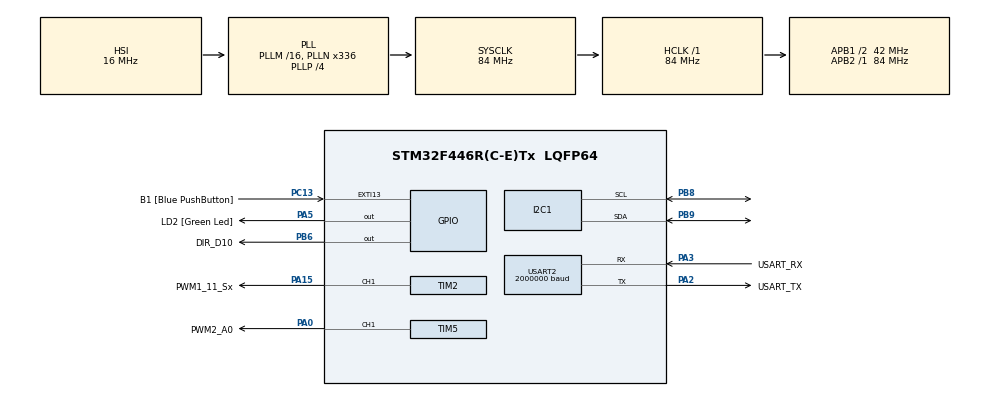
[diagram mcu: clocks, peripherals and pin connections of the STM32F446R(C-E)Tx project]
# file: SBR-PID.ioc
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Mcu.Family=STM32F4
PH0-OSC_IN.Signal=RCC_OSC_IN
RCC.CortexFreq_Value=84000000
PA14.GPIO_Label=TCK
PB6.GPIO_Label=DIR_D10
PC13.GPIO_Label=B1 [Blue PushButton]
RCC.SYSCLKSource=RCC_SYSCLKSOURCE_PLLCLK
ProjectManager.StackSize=0x400
PA15.GPIO_Label=PWM1_11_Sx
RCC.HCLKFreq_Value=84000000
RCC.APB2TimFreq_Value=84000000
PB6.Signal=GPIO_Output
VP_TIM10_VS_ClockSourceINT.Mode=Enable_Timer
RCC.AHBFreq_Value=84000000
PH0-OSC_IN.Mode=HSE-External-Oscillator
RCC.HSE_VALUE=8000000
PC14-OSC32_IN.Mode=LSE-External-Oscillator
PA14.Mode=Serial_Wire
TIM2.Channel-PWM\ Generation1\ CH1=TIM_CHANNEL_1
RCC.FLatency-AdvancedSettings=FLASH_LATENCY_2
PH1-OSC_OUT.Mode=HSE-External-Oscillator
Mcu.Package=LQFP64
PB9.Signal=I2C1_SDA
USART2.VirtualMode=VM_ASYNC
PA2.GPIO_Label=USART_TX
PA15.Signal=S_TIM2_CH1_ETR
PB8.GPIO_PuPdOD=GPIO_PULLUP
RCC.APB1TimFreq_Value=84000000
SH.S_TIM5_CH1.0=TIM5_CH1,PWM Generation1 CH1
PA3.Signal=USART2_RX
PB3.GPIO_Label=SWO
TIM10.Prescaler=4 - 1
PC15-OSC32_OUT.Mode=LSE-External-Oscillator
PC13.Signal=GPXTI13
TIM11.Prescaler=8400 - 1
RCC.APB1CLKDivider=RCC_HCLK_DIV2
PC14-OSC32_IN.Signal=RCC_OSC32_IN
USART2.BaudRate=2000000
PA0-WKUP.GPIO_Label=PWM2_A0
PA0-WKUP.Signal=S_TIM5_CH1
VP_TIM11_VS_ClockSourceINT.Mode=Enable_Timer
PA13.Signal=SYS_JTMS-SWDIO
PA3.Mode=Asynchronous
ProjectManager.TargetToolchain=STM32CubeIDE
PB9.Mode=I2C
RCC.USBFreq_Value=168000000
PC15-OSC32_OUT.Signal=RCC_OSC32_OUT
PA5.Signal=GPIO_Output
board=NUCLEO-F446RE
RCC.VCOOutputFreq_Value=336000000
TIM10.Period=42000 - 1
RCC.APB2Freq_Value=84000000
PH1-OSC_OUT.Signal=RCC_OSC_OUT
TIM2.Period=0
PA13.Mode=Serial_Wire
Mcu.Name=STM32F446R(C-E)Tx
PA13.GPIO_Label=TMS
PA2.Signal=USART2_TX
RCC.48MHZClocksFreq_Value=84000000
PB3.Signal=SYS_JTDO-SWO
RCC.SYSCLKFreq_VALUE=84000000
PA5.GPIO_Label=LD2 [Green Led]
PC13.GPIO_ModeDefaultEXTI=GPIO_MODE_IT_FALLING
SH.S_TIM2_CH1_ETR.0=TIM2_CH1,PWM Generation1 CH1
TIM5.Channel-PWM\ Generation1\ CH1=TIM_CHANNEL_1
PA14.Signal=SYS_JTCK-SWCLK
ProjectManager.HeapSize=0x200
PB9.GPIO_PuPdOD=GPIO_PULLUP
NVIC.TIM1_UP_TIM10_IRQn=true\:0\:0\:false\:false\:true\:true\:true
RCC.HSI_VALUE=16000000
RCC.PLLP=RCC_PLLP_DIV4
NVIC.PriorityGroup=NVIC_PRIORITYGROUP_0
PB8.Mode=I2C
RCC.PLLN=336
PA2.Mode=Asynchronous
PB8.Signal=I2C1_SCL
TIM5.Period=0
RCC.APB1Freq_Value=42000000
USART2.Mode=MODE_TX
PA3.GPIO_Label=USART_RX

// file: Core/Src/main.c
/* USER CODE BEGIN Header */
/**
  ******************************************************************************
  * @file           : main.c
  * @brief          : Main program body
  ******************************************************************************
  * @attention
  *
  * <h2><center>&copy; Copyright (c) 2021 STMicroelectronics.
  * All rights reserved.</center></h2>
  *
  * This software component is licensed by ST under BSD 3-Clause license,
  * the "License"; You may not use this file except in compliance with the
  * License. You may obtain a copy of the License at:
  *                        opensource.org/licenses/BSD-3-Clause
  *
  * 		Authors: Quatela Alessandro, Roberto Giuseppe
  *
  ******************************************************************************
  */
/* USER CODE END Header */
#include "main.h"
#include "i2c.h"
#include "tim.h"
#include "usart.h"
#include "gpio.h"

/* USER CODE BEGIN Includes */
#include <stdio.h>		// Used to obtain serial communication
#include "MPU6050.h"
#include "Stepper.h"
/* USER CODE END Includes */

/* USER CODE BEGIN PD */
#define CONTROL_TYPE 0				// 0->PID 1->LQR
/* USER CODE END PD */

/* USER CODE BEGIN PV */
char uart_buf[50];
int uart_buf_len;
//uint16_t start_t = 0, end_t;
/* USER CODE END PV */

void SystemClock_Config(void);

int main(void)
{

  /* MCU Configuration--------------------------------------------------------*/

  /* Reset of all peripherals, Initializes the Flash interface and the Systick. */
  HAL_Init();

  /* Configure the system clock */
  SystemClock_Config();

  /* Initialize all configured peripherals */
  MX_GPIO_Init();
  MX_USART2_UART_Init();
  MX_TIM2_Init();
  MX_TIM5_Init();
  MX_TIM10_Init();
  MX_TIM11_Init();
  MX_I2C1_Init();
  /* USER CODE BEGIN 2 */

  /* START ROBOT CONFIGURATION */
  uart_buf_len = sprintf(uart_buf, "STARTING SERIAL COMMUNICATION\r\n");
  HAL_UART_Transmit(&huart2, (uint8_t *)uart_buf, uart_buf_len, 100);

  /* MPU6050 Initialization */
  if (MPU6050_Init(hi2c1, 500, 1000)) {	/* if MPU6050_Init() = 1 -> HAL_Busy error */
	  uart_buf_len = sprintf(uart_buf, "CONFIGURATION ERROR: MPU6050 is not reachable\r\n");
	  HAL_UART_Transmit(&huart2, (uint8_t *)uart_buf, uart_buf_len, 100);
	  while (1) {
		  HAL_GPIO_TogglePin(LD2_GPIO_Port, LD2_Pin);
		  HAL_Delay(500);
	  }
  }

  uart_buf_len = sprintf(uart_buf, "CONFIGURATION COMPLETED\r\n");
  HAL_UART_Transmit(&huart2, (uint8_t *)uart_buf, uart_buf_len, 100);

  /* TIM Initialization */
  HAL_TIM_PWM_Start(&htim2, TIM_CHANNEL_1);
  HAL_TIM_PWM_Start(&htim5, TIM_CHANNEL_1);

  HAL_TIM_Base_Start_IT(&htim10);
  //HAL_TIM_Base_Start(&htim11);

  /* USER CODE END 2 */

  /* Infinite loop */
  while (1)
  {

  }
}

void SystemClock_Config(void)
{
  RCC_OscInitTypeDef RCC_OscInitStruct = {0};
  RCC_ClkInitTypeDef RCC_ClkInitStruct = {0};

  /** Configure the main internal regulator output voltage
  */
  __HAL_RCC_PWR_CLK_ENABLE();
  __HAL_PWR_VOLTAGESCALING_CONFIG(PWR_REGULATOR_VOLTAGE_SCALE3);
  /** Initializes the RCC Oscillators according to the specified parameters
  * in the RCC_OscInitTypeDef structure.
  */
  RCC_OscInitStruct.OscillatorType = RCC_OSCILLATORTYPE_HSI;
  RCC_OscInitStruct.HSIState = RCC_HSI_ON;
  RCC_OscInitStruct.HSICalibrationValue = RCC_HSICALIBRATION_DEFAULT;
  RCC_OscInitStruct.PLL.PLLState = RCC_PLL_ON;
  RCC_OscInitStruct.PLL.PLLSource = RCC_PLLSOURCE_HSI;
  RCC_OscInitStruct.PLL.PLLM = 16;
  RCC_OscInitStruct.PLL.PLLN = 336;
  RCC_OscInitStruct.PLL.PLLP = RCC_PLLP_DIV4;
  RCC_OscInitStruct.PLL.PLLQ = 2;
  RCC_OscInitStruct.PLL.PLLR = 2;
  if (HAL_RCC_OscConfig(&RCC_OscInitStruct) != HAL_OK)
  {
    Error_Handler();
  }
  /** Initializes the CPU, AHB and APB buses clocks
  */
  RCC_ClkInitStruct.ClockType = RCC_CLOCKTYPE_HCLK|RCC_CLOCKTYPE_SYSCLK
                              |RCC_CLOCKTYPE_PCLK1|RCC_CLOCKTYPE_PCLK2;
  RCC_ClkInitStruct.SYSCLKSource = RCC_SYSCLKSOURCE_PLLCLK;
  RCC_ClkInitStruct.AHBCLKDivider = RCC_SYSCLK_DIV1;
  RCC_ClkInitStruct.APB1CLKDivider = RCC_HCLK_DIV2;
  RCC_ClkInitStruct.APB2CLKDivider = RCC_HCLK_DIV1;

  if (HAL_RCC_ClockConfig(&RCC_ClkInitStruct, FLASH_LATENCY_2) != HAL_OK)
  {
    Error_Handler();
  }
}

/* USER CODE BEGIN 4 */
void HAL_TIM_PeriodElapsedCallback(TIM_HandleTypeDef *htim) {

	if (htim==&htim10)
	{

//		end_t = __HAL_TIM_GET_COUNTER(&htim11);
//		float dt = ABS((float) (end_t - start_t) / 10000);
//		start_t = __HAL_TIM_GET_COUNTER(&htim11);
//
//		uart_buf_len = sprintf(uart_buf, "Time= %.4f s \r\n", dt);
//		HAL_UART_Transmit(&huart2, (uint8_t *)uart_buf, uart_buf_len, 100);

		/* Sampling time */
		float dt = (float) 20 / 10000;

		/* Sensor reading */
		Control_Data_t Control_Data = MPU6050_Data(hi2c1, dt);

		/* Control selection */
		float velocity = 0;
		if (CONTROL_TYPE == 0) {
			velocity = PID_Control(Control_Data, dt);
		} else if (CONTROL_TYPE == 1) {
			velocity = LQR_Control(Control_Data, dt);
		}

		/* Speed actuation */
		Speed_Actuation(htim2, htim5, velocity);

//		uart_buf_len = sprintf(uart_buf, "Y_angle= %.2f" "Y_out= %.2f" "Gy= %.2f\r\n", Control_Data.angleY, Control_Data.angleY_out, Control_Data.Gy);
//		HAL_UART_Transmit(&huart2, (uint8_t *)uart_buf, uart_buf_len, 100);
//		uart_buf_len = sprintf(uart_buf, "Time= %.5f s, Vel= %.2f, ARR= %d\r\n", dt, velocity, htim2.Instance->ARR);
//		HAL_UART_Transmit(&huart2, (uint8_t *)uart_buf, uart_buf_len, 100);
//		uart_buf_len = sprintf(uart_buf, "Time= %.4f s \r\n", dt);
//		HAL_UART_Transmit(&huart2, (uint8_t *)uart_buf, uart_buf_len, 100);

	}

}
/* USER CODE END 4 */

void Error_Handler(void)
{
  __disable_irq();
  while (1)
  {
  }
}

/************************ (C) COPYRIGHT STMicroelectronics *****END OF FILE****/
